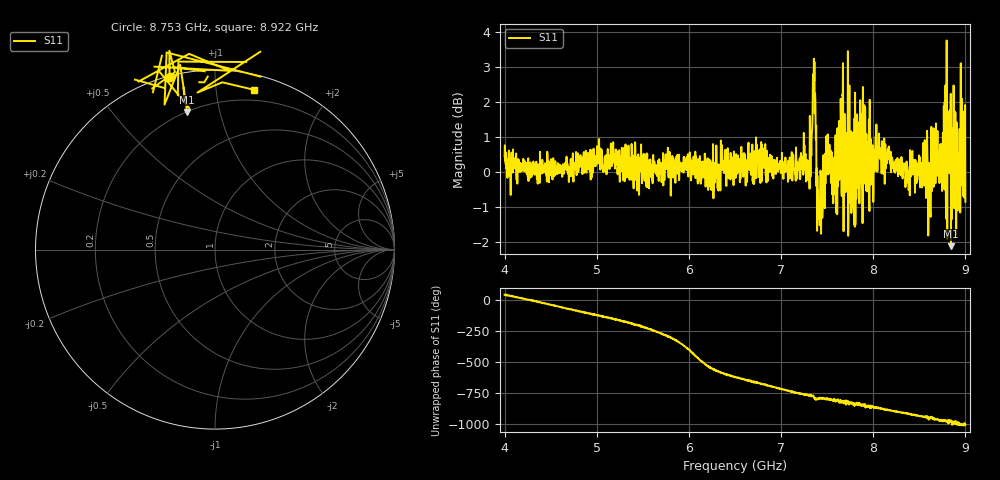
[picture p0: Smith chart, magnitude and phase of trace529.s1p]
! Created with skrf 1.8.0 (http://scikit-rf.org).
# Hz S RI R 50.0
!freq ReS11 ImS11
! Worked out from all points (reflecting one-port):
!   1601 points, 4 GHz to 9 GHz, reference 50 ohm
!   lowest |S11| = -2.1 dB at 8.844 GHz (marker M1), VSWR 8.21, Z = 10.1 + j39.9 ohm
!   phase of S11 starts at 46 deg and turns -1050 deg over the sweep
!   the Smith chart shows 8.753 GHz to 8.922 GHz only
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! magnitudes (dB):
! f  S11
! 4 GHz  0.5
! 4.625 GHz  -0.1
! 5.25 GHz  -0.3
! 5.875 GHz  0.5
! 6.5 GHz  0.3
! 7.125 GHz  0.3
! 7.294 GHz  -0.2
! 7.356 GHz  3.2
! 7.409 GHz  -0.8
! 7.512 GHz  0.5
! 7.591 GHz  1.0
! 7.65 GHz  1.5
! 7.75 GHz  -0.8
! 7.775 GHz  1.1
! 7.847 GHz  0.9
! 7.981 GHz  -0.2
! 8.047 GHz  0.1
! 8.375 GHz  -0.2
! 8.562 GHz  -0.1
! 8.612 GHz  0.1
! 8.656 GHz  1.2
! 8.738 GHz  0.8
! 8.816 GHz  0.0
! 8.825 GHz  1.5
! 8.844 GHz  -2.1
! 8.919 GHz  -0.6
! 8.972 GHz  0.1
! 9 GHz  -0.9
